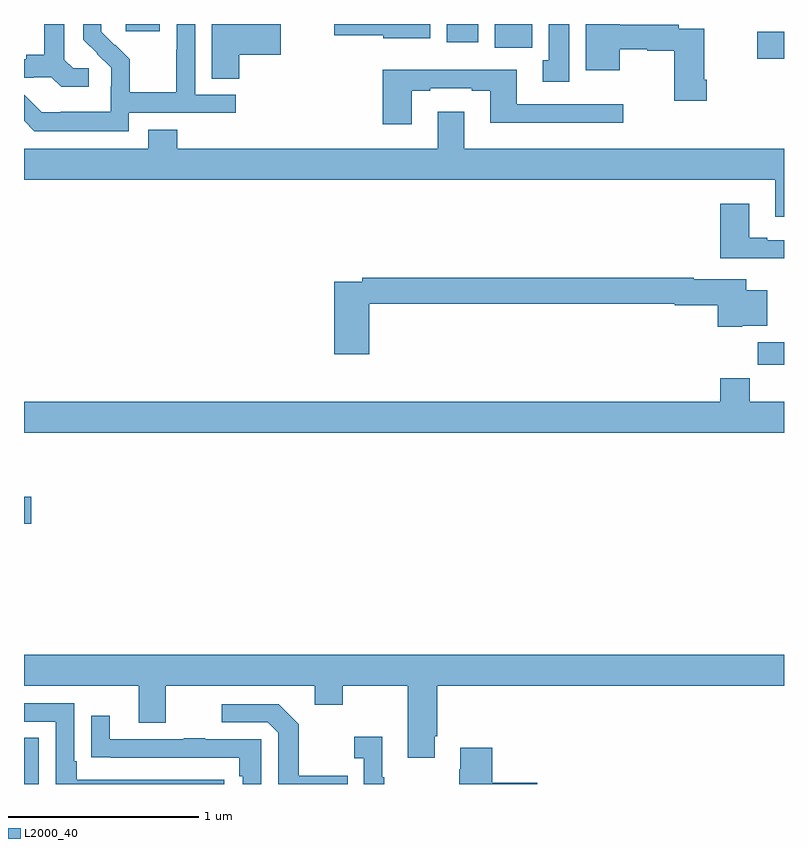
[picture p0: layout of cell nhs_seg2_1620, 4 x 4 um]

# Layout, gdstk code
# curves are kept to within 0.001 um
import gdstk
lib = gdstk.Library(unit=1e-6, precision=1e-09)
def R(c, l, rs):  # rectangles x0, y0, x1, y1
    for r in rs: c.add(gdstk.rectangle(r[:2], r[2:], *l))
def P(c, l, *ps):  # polygons
    for p in ps: c.add(gdstk.Polygon(p, *l))
L2000_40 = (2000, 40)

nhs_seg2_1620 = lib.new_cell('nhs_seg2_1620')
R(nhs_seg2_1620, L2000_40, [(195,633.8,195.078,634.043), (195,635.171,195.037,635.313), (198.862,636.006,199,636.124), (198.858,637.618,199,637.76), (197.477,637.676,197.674,637.8), (197.225,637.704,197.392,637.8), (195.536,637.761,195.715,637.8)])
P(nhs_seg2_1620, L2000_40, [(195.552,637.332),(196.114,637.332),(196.114,637.428),(195.9,637.428),(195.9,637.8),(195.804,637.8),(195.804,637.664),(195.802,637.664),(195.802,637.441),(195.557,637.441),(195.557,637.615),(195.48,637.692),(195.477,637.689),(195.407,637.76),(195.407,637.8),(195.312,637.8),(195.312,637.718),(195.458,637.57),(195.458,637.473),(195.456,637.473),(195.456,637.339),(195.193,637.339),(195.193,637.335),(195.093,637.335),(195,637.428),(195,637.29),(195.055,637.235),(195.552,637.235)],
  [(195.34,637.566),(195.258,637.566),(195.211,637.613),(195.211,637.8),(195.107,637.8),(195.107,637.637),(195.011,637.637),(195.011,637.614),(195,637.614),(195,637.518),(195.05,637.518),(195.05,637.521),(195.144,637.521),(195.196,637.469),(195.34,637.469)],
  [(198.593,637.507),(198.58,637.507),(198.58,637.776),(198.446,637.776),(198.446,637.796),(198.136,637.796),(198.136,637.8),(197.957,637.8),(197.957,637.556),(198.136,637.556),(198.136,637.668),(198.279,637.668),(198.279,637.66),(198.422,637.66),(198.422,637.395),(198.593,637.395)],
  [(196.133,637.637),(196.351,637.637),(196.351,637.8),(195.989,637.8),(195.989,637.513),(196.133,637.513)],
  [(197.137,637.8),(196.634,637.8),(196.634,637.742),(196.89,637.742),(196.89,637.724),(197.137,637.724)],
  [(197.869,637.8),(197.762,637.8),(197.762,637.61),(197.729,637.61),(197.729,637.497),(197.869,637.497)],
  [(197.041,637.449),(197.137,637.449),(197.137,637.461),(197.357,637.461),(197.357,637.449),(197.453,637.449),(197.453,637.28),(198.154,637.28),(198.154,637.377),(197.593,637.377),(197.593,637.558),(196.889,637.558),(196.889,637.272),(197.041,637.272)],
  [(199,637.144),(197.317,637.144),(197.317,637.339),(197.177,637.339),(197.177,637.144),(195.806,637.144),(195.806,637.243),(195.653,637.243),(195.653,637.144),(195,637.144),(195,636.98),(198.953,636.98),(198.953,636.786),(199,636.786)],
  [(199,636.663),(198.913,636.663),(198.913,636.676),(198.817,636.676),(198.817,636.853),(198.665,636.853),(198.665,636.566),(199,636.566)],
  [(196.817,636.328),(198.426,636.328),(198.426,636.32),(198.65,636.32),(198.65,636.206),(198.78,636.206),(198.78,636.212),(198.913,636.212),(198.913,636.4),(198.802,636.4),(198.802,636.457),(198.526,636.457),(198.526,636.464),(196.78,636.464),(196.78,636.444),(196.634,636.444),(196.634,636.063),(196.817,636.063)],
  [(199,635.812),(198.821,635.812),(198.821,635.936),(198.665,635.936),(198.665,635.812),(195,635.812),(195,635.648),(199,635.648)],
  [(197.161,634.051),(197.174,634.051),(197.174,634.316),(199,634.316),(199,634.48),(195,634.48),(195,634.316),(195.605,634.316),(195.605,634.122),(195.745,634.122),(195.745,634.316),(196.529,634.316),(196.529,634.217),(196.677,634.217),(196.677,634.316),(197.021,634.316),(197.021,633.939),(197.161,633.939)],
  [(196.054,633.822),(195.277,633.822),(195.277,633.919),(195.264,633.919),(195.264,634.224),(195,634.224),(195,634.128),(195.168,634.128),(195.168,633.8),(196.054,633.8)],
  [(196.703,633.843),(196.447,633.843),(196.447,634.115),(196.341,634.221),(196.041,634.221),(196.041,634.125),(196.284,634.125),(196.338,634.071),(196.338,633.8),(196.703,633.8)],
  [(196.248,634.035),(195.953,634.035),(195.953,634.04),(195.841,634.04),(195.841,634.035),(195.451,634.035),(195.451,634.159),(195.355,634.159),(195.355,633.94),(195.457,633.94),(195.457,633.939),(196.132,633.939),(196.132,633.842),(196.152,633.842),(196.152,633.8),(196.248,633.8)],
  [(196.897,633.835),(196.885,633.835),(196.885,634.048),(196.737,634.048),(196.737,633.935),(196.788,633.935),(196.788,633.8),(196.897,633.8)],
  [(197.701,633.806),(197.465,633.806),(197.465,633.991),(197.297,633.991),(197.297,633.878),(197.29,633.878),(197.29,633.8),(197.701,633.8)])

lib.write_gds('nhs_seg2_1620.gds')
